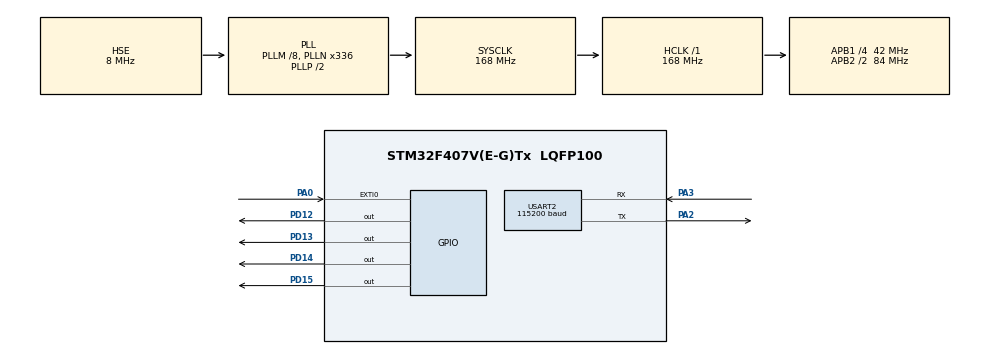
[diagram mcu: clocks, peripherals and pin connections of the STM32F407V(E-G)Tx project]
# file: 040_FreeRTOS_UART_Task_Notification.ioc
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FREERTOS.Tasks01=defaultTask,24,128,StartDefaultTask,Default,NULL,Dynamic,NULL,NULL
FREERTOS.configUSE_NEWLIB_REENTRANT=1
Mcu.Family=STM32F4
Mcu.Name=STM32F407V(E-G)Tx
Mcu.Package=LQFP100
NVIC.EXTI0_IRQn=true\:5\:0\:false\:false\:true\:true\:true\:true\:true
NVIC.PriorityGroup=NVIC_PRIORITYGROUP_4
NVIC.TIM8_TRG_COM_TIM14_IRQn=true\:15\:0\:false\:false\:true\:false\:false\:true\:true
NVIC.TimeBase=TIM8_TRG_COM_TIM14_IRQn
NVIC.TimeBaseIP=TIM14
NVIC.USART2_IRQn=true\:5\:0\:false\:false\:true\:true\:true\:true\:true
PA0-WKUP.Signal=GPXTI0
PA2.Mode=Asynchronous
PA2.Signal=USART2_TX
PA3.Mode=Asynchronous
PA3.Signal=USART2_RX
PD12.Signal=GPIO_Output
PD13.Signal=GPIO_Output
PD14.Signal=GPIO_Output
PD15.Signal=GPIO_Output
PH0-OSC_IN.Mode=HSE-External-Oscillator
PH0-OSC_IN.Signal=RCC_OSC_IN
PH1-OSC_OUT.Mode=HSE-External-Oscillator
PH1-OSC_OUT.Signal=RCC_OSC_OUT
ProjectManager.HeapSize=0x200
ProjectManager.StackSize=0x400
ProjectManager.TargetToolchain=STM32CubeIDE
RCC.48MHZClocksFreq_Value=48000000
RCC.AHBFreq_Value=168000000
RCC.APB1CLKDivider=RCC_HCLK_DIV4
RCC.APB1Freq_Value=42000000
RCC.APB1TimFreq_Value=84000000
RCC.APB2CLKDivider=RCC_HCLK_DIV2
RCC.APB2Freq_Value=84000000
RCC.APB2TimFreq_Value=168000000
RCC.CortexFreq_Value=168000000
RCC.HCLKFreq_Value=168000000
RCC.HSE_VALUE=8000000
RCC.HSI_VALUE=16000000
RCC.LSE_VALUE=32768
RCC.PLLM=8
RCC.PLLN=336
RCC.PLLQ=7
RCC.PLLSourceVirtual=RCC_PLLSOURCE_HSE
RCC.SYSCLKFreq_VALUE=168000000
RCC.SYSCLKSource=RCC_SYSCLKSOURCE_PLLCLK
RCC.VCOOutputFreq_Value=336000000
USART2.BaudRate=115200
USART2.VirtualMode=VM_ASYNC
VP_FREERTOS_VS_CMSIS_V2.Mode=CMSIS_V2
VP_SYS_VS_tim14.Mode=TIM14
board=STM32F407G-DISC1

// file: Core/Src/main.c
/* USER CODE BEGIN Header */
/**
  ******************************************************************************
  * @file           : main.c
  * @brief          : Main program body
  ******************************************************************************
  * @attention
  *
  * Copyright (c) 2023 STMicroelectronics.
  * All rights reserved.
  *
  * This software is licensed under terms that can be found in the LICENSE file
  * in the root directory of this software component.
  * If no LICENSE file comes with this software, it is provided AS-IS.
  *
  ******************************************************************************
  */
/* USER CODE END Header */
#include "main.h"

/* USER CODE BEGIN Includes */
#include "FreeRTOS.h"
#include "task.h"
/* USER CODE END Includes */

/* USER CODE BEGIN PTD */
typedef struct
{
	TaskHandle_t xTaskToNotify;
	uint8_t *DataSource;
	size_t uxLength;
	uint32_t Timeout;
}My_Uart_HandleTypedef;
/* USER CODE END PTD */

UART_HandleTypeDef huart2;

/* Definitions for defaultTask */

/* USER CODE BEGIN PV */
My_Uart_HandleTypedef pxUARTInstance;
/* USER CODE END PV */

void SystemClock_Config(void);
static void MX_GPIO_Init(void);
static void MX_USART2_UART_Init(void);

/* USER CODE BEGIN 0 */
BaseType_t xUART_Send()
{
	BaseType_t xReturn;
	// getting task handle of caller task
	pxUARTInstance.xTaskToNotify = xTaskGetCurrentTaskHandle();
	ulTaskNotifyTake(pdTRUE, 0);

	HAL_UART_Transmit_IT(&huart2, (uint8_t*)pxUARTInstance.DataSource, pxUARTInstance.uxLength);

	xReturn = (BaseType_t) ulTaskNotifyTake(pdTRUE, pxUARTInstance.Timeout);

	return xReturn;
}
void HAL_UART_TxCpltCallback(UART_HandleTypeDef *huart)
{
	BaseType_t xHigherPriorityTaskWoken = pdFALSE;

	vTaskNotifyGiveFromISR(pxUARTInstance.xTaskToNotify, &xHigherPriorityTaskWoken);
	portYIELD_FROM_ISR(xHigherPriorityTaskWoken);

}
void vTask1(void *pvParameters)
{
	BaseType_t xReturnedValue;
	const char *msg = "Hello World\r\n";
	pxUARTInstance.DataSource = msg;
	pxUARTInstance.uxLength = strlen(msg);
	pxUARTInstance.Timeout = pdMS_TO_TICKS(10);

	for(;;)
	{
		xReturnedValue = xUART_Send();
		if(xReturnedValue == pdPASS)
		{
			HAL_GPIO_WritePin(GPIOD,GPIO_PIN_12, GPIO_PIN_SET);
			HAL_GPIO_WritePin(GPIOD,GPIO_PIN_14, GPIO_PIN_RESET);
		}
		else
		{
			HAL_GPIO_WritePin(GPIOD,GPIO_PIN_12, GPIO_PIN_RESET);
			HAL_GPIO_WritePin(GPIOD,GPIO_PIN_14, GPIO_PIN_SET);
		}
		vTaskDelay(pdMS_TO_TICKS(500));
	}
}
/* USER CODE END 0 */

int main(void)
{

  /* MCU Configuration--------------------------------------------------------*/

  /* Reset of all peripherals, Initializes the Flash interface and the Systick. */
  HAL_Init();

  /* Configure the system clock */
  SystemClock_Config();

  /* Initialize all configured peripherals */
  MX_GPIO_Init();
  MX_USART2_UART_Init();
  /* USER CODE BEGIN 2 */
  xTaskCreate(vTask1, "Task1", configMINIMAL_STACK_SIZE, NULL, 1, NULL);
  vTaskStartScheduler();
  /* USER CODE END 2 */

  /* Init scheduler */

  /* Create the thread(s) */
  /* creation of defaultTask */

  /* Start scheduler */

  /* We should never get here as control is now taken by the scheduler */
  /* Infinite loop */
  while (1)
  {

  }
}

void SystemClock_Config(void)
{
  RCC_OscInitTypeDef RCC_OscInitStruct = {0};
  RCC_ClkInitTypeDef RCC_ClkInitStruct = {0};

  /** Configure the main internal regulator output voltage
  */
  __HAL_RCC_PWR_CLK_ENABLE();
  __HAL_PWR_VOLTAGESCALING_CONFIG(PWR_REGULATOR_VOLTAGE_SCALE1);

  /** Initializes the RCC Oscillators according to the specified parameters
  * in the RCC_OscInitTypeDef structure.
  */
  RCC_OscInitStruct.OscillatorType = RCC_OSCILLATORTYPE_HSE;
  RCC_OscInitStruct.HSEState = RCC_HSE_ON;
  RCC_OscInitStruct.PLL.PLLState = RCC_PLL_ON;
  RCC_OscInitStruct.PLL.PLLSource = RCC_PLLSOURCE_HSE;
  RCC_OscInitStruct.PLL.PLLM = 8;
  RCC_OscInitStruct.PLL.PLLN = 336;
  RCC_OscInitStruct.PLL.PLLP = RCC_PLLP_DIV2;
  RCC_OscInitStruct.PLL.PLLQ = 7;
  if (HAL_RCC_OscConfig(&RCC_OscInitStruct) != HAL_OK)
  {
    Error_Handler();
  }

  /** Initializes the CPU, AHB and APB buses clocks
  */
  RCC_ClkInitStruct.ClockType = RCC_CLOCKTYPE_HCLK|RCC_CLOCKTYPE_SYSCLK
                              |RCC_CLOCKTYPE_PCLK1|RCC_CLOCKTYPE_PCLK2;
  RCC_ClkInitStruct.SYSCLKSource = RCC_SYSCLKSOURCE_PLLCLK;
  RCC_ClkInitStruct.AHBCLKDivider = RCC_SYSCLK_DIV1;
  RCC_ClkInitStruct.APB1CLKDivider = RCC_HCLK_DIV4;
  RCC_ClkInitStruct.APB2CLKDivider = RCC_HCLK_DIV2;

  if (HAL_RCC_ClockConfig(&RCC_ClkInitStruct, FLASH_LATENCY_5) != HAL_OK)
  {
    Error_Handler();
  }
}

static void MX_USART2_UART_Init(void)
{

  huart2.Instance = USART2;
  huart2.Init.BaudRate = 115200;
  huart2.Init.WordLength = UART_WORDLENGTH_8B;
  huart2.Init.StopBits = UART_STOPBITS_1;
  huart2.Init.Parity = UART_PARITY_NONE;
  huart2.Init.Mode = UART_MODE_TX_RX;
  huart2.Init.HwFlowCtl = UART_HWCONTROL_NONE;
  huart2.Init.OverSampling = UART_OVERSAMPLING_16;
  if (HAL_UART_Init(&huart2) != HAL_OK)
  {
    Error_Handler();
  }

}

static void MX_GPIO_Init(void)
{
  GPIO_InitTypeDef GPIO_InitStruct = {0};

  /* GPIO Ports Clock Enable */
  __HAL_RCC_GPIOH_CLK_ENABLE();
  __HAL_RCC_GPIOA_CLK_ENABLE();
  __HAL_RCC_GPIOD_CLK_ENABLE();

  /*Configure GPIO pin Output Level */
  HAL_GPIO_WritePin(GPIOD, GPIO_PIN_12|GPIO_PIN_13|GPIO_PIN_14|GPIO_PIN_15, GPIO_PIN_RESET);

  /*Configure GPIO pin : PA0 */
  GPIO_InitStruct.Pin = GPIO_PIN_0;
  GPIO_InitStruct.Mode = GPIO_MODE_IT_RISING;
  GPIO_InitStruct.Pull = GPIO_NOPULL;
  HAL_GPIO_Init(GPIOA, &GPIO_InitStruct);

  /*Configure GPIO pins : PD12 PD13 PD14 PD15 */
  GPIO_InitStruct.Pin = GPIO_PIN_12|GPIO_PIN_13|GPIO_PIN_14|GPIO_PIN_15;
  GPIO_InitStruct.Mode = GPIO_MODE_OUTPUT_PP;
  GPIO_InitStruct.Pull = GPIO_NOPULL;
  GPIO_InitStruct.Speed = GPIO_SPEED_FREQ_LOW;
  HAL_GPIO_Init(GPIOD, &GPIO_InitStruct);

  /* EXTI interrupt init*/
  HAL_NVIC_SetPriority(EXTI0_IRQn, 5, 0);
  HAL_NVIC_EnableIRQ(EXTI0_IRQn);

}

void HAL_TIM_PeriodElapsedCallback(TIM_HandleTypeDef *htim)
{
  if (htim->Instance == TIM14) {
    HAL_IncTick();
  }
}

void Error_Handler(void)
{
  __disable_irq();
  while (1)
  {
  }
}
